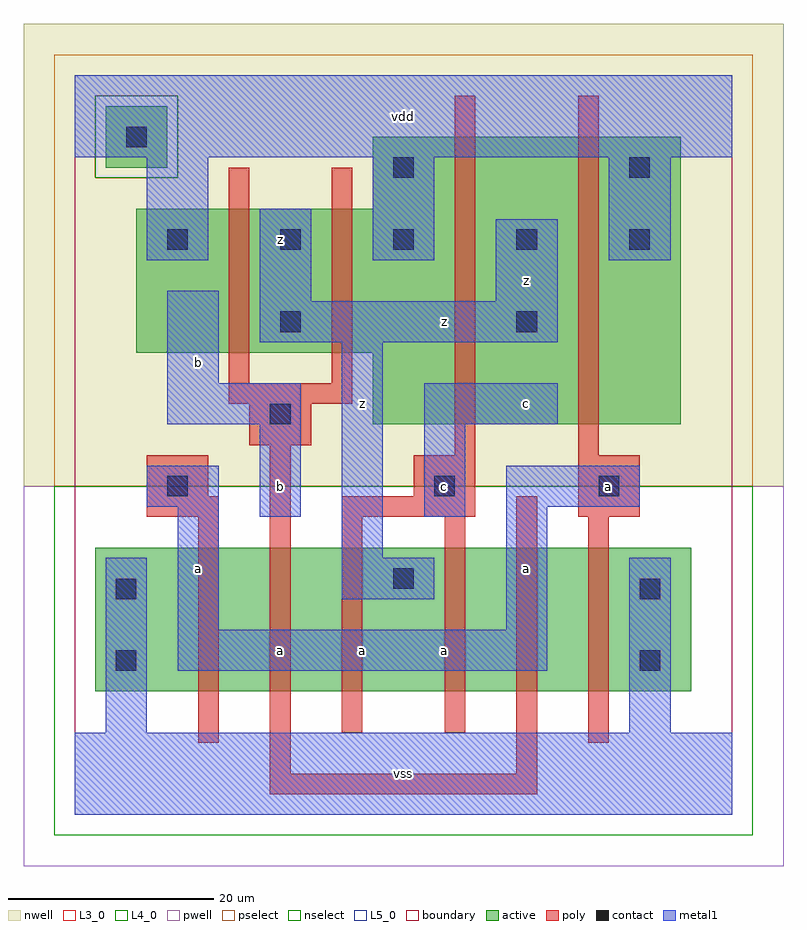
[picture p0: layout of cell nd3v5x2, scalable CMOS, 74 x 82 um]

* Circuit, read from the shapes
.subckt nd3v5x2 a b c vdd vss z
M1 n1 a vss VSUBS nfet w=14u l=2u
M2 n2 b n1 VSUBS nfet w=14u l=2u
M3 z c n2 VSUBS nfet w=14u l=2u
M4 n3 c z VSUBS nfet w=14u l=2u
M5 n4 b n3 VSUBS nfet w=14u l=2u
M6 vss a n4 VSUBS nfet w=14u l=2u
M7 z b vdd vdd pfet w=14u l=2u m=2
M8 z c vdd vdd pfet w=28u l=2u
M9 vdd a z vdd pfet w=28u l=2u
.ends

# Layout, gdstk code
import gdstk
lib = gdstk.Library(unit=1e-6, precision=1e-09)
def R(c, l, rs):  # rectangles x0, y0, x1, y1
    for r in rs: c.add(gdstk.rectangle(r[:2], r[2:], *l))
def A(c, l, x, y, w, h, nx, ny, dx, dy):  # array of equal rectangles
    R(c, l, [(x+i*dx, y+j*dy, x+i*dx+w, y+j*dy+h) for i in range(nx) for j in range(ny)])
L3_0 = (3, 0)
L4_0 = (4, 0)
L5_0 = (5, 0)
contact = (25, 0)
pwell = (41, 0)
nwell = (42, 0)
active = (43, 0)
pselect = (44, 0)
nselect = (45, 0)
poly = (46, 0)
metal1 = (49, 0)
boundary = (63, 0)

nd3v5x2 = lib.new_cell('nd3v5x2')
R(nd3v5x2, L3_0, [(2,12,60,26)])
R(nd3v5x2, L4_0, [(29,38,59,45), (6,45,59,59), (29,59,59,66)])
R(nd3v5x2, L5_0, [(3,63,9,69)])
A(nd3v5x2, contact, 9, 55, 2, 2, 3, 1, 11, 0)
R(nd3v5x2, contact, [(4,14,6,16), (55,14,57,16), (4,21,6,23), (55,21,57,23), (31,22,33,24), (9,31,11,33), (35,31,37,33), (51,31,53,33), (19,38,21,40), (20,47,22,49), (43,47,45,49), (43,55,45,57), (54,55,56,57), (31,62,33,64), (54,62,56,64), (5,65,7,67)])
R(nd3v5x2, pwell, [(-5,-5,69,32)])
R(nd3v5x2, nwell, [(-5,32,69,77)])
R(nd3v5x2, active, [(2,12,60,26), (29,38,59,45), (6,45,59,59), (29,59,59,66), (3,63,9,69)])
R(nd3v5x2, pselect, [(-2,32,66,62), (-2,62,2,70), (10,62,66,70), (-2,70,66,74)])
R(nd3v5x2, nselect, [(-2,-2,66,32), (2,62,10,70)])
R(nd3v5x2, poly, [(19,2,45,4), (19,4,21,36), (43,4,45,31), (12,7,14,29), (50,7,52,29), (26,8,28,29), (36,8,38,29), (7,29,14,31), (26,29,39,31), (49,29,55,35), (7,31,13,35), (33,31,39,35), (37,35,39,70), (49,35,51,70), (17,36,23,40), (15,40,27,42), (15,42,17,63), (25,42,27,63)])
R(nd3v5x2, metal1, [(0,0,64,8), (3,8,7,25), (54,8,58,25), (10,14,46,18), (10,18,14,30), (42,18,46,30), (26,21,35,25), (26,25,30,46), (18,29,22,38), (34,29,38,38), (7,30,14,34), (42,30,55,34), (9,38,22,42), (34,38,47,42), (9,42,14,51), (18,46,47,50), (18,50,23,59), (41,50,47,58), (7,54,13,64), (29,54,35,64), (52,54,58,64), (0,64,64,72)])
R(nd3v5x2, boundary, [(0,0,64,72)])
nd3v5x2.add(gdstk.Label('a', (12,24), layer=49, texttype=0))
nd3v5x2.add(gdstk.Label('b', (12,44), layer=49, texttype=0))
nd3v5x2.add(gdstk.Label('a', (20,16), layer=49, texttype=0))
nd3v5x2.add(gdstk.Label('a', (28,16), layer=49, texttype=0))
nd3v5x2.add(gdstk.Label('b', (20,32), layer=49, texttype=0))
nd3v5x2.add(gdstk.Label('z', (28,40), layer=49, texttype=0))
nd3v5x2.add(gdstk.Label('z', (20,56), layer=49, texttype=0))
nd3v5x2.add(gdstk.Label('vss', (32,4), layer=49, texttype=0))
nd3v5x2.add(gdstk.Label('a', (36,16), layer=49, texttype=0))
nd3v5x2.add(gdstk.Label('c', (36,32), layer=49, texttype=0))
nd3v5x2.add(gdstk.Label('a', (44,24), layer=49, texttype=0))
nd3v5x2.add(gdstk.Label('c', (44,40), layer=49, texttype=0))
nd3v5x2.add(gdstk.Label('z', (36,48), layer=49, texttype=0))
nd3v5x2.add(gdstk.Label('z', (44,52), layer=49, texttype=0))
nd3v5x2.add(gdstk.Label('vdd', (32,68), layer=49, texttype=0))
nd3v5x2.add(gdstk.Label('a', (52,32), layer=49, texttype=0))

lib.write_gds('nd3v5x2.gds')
